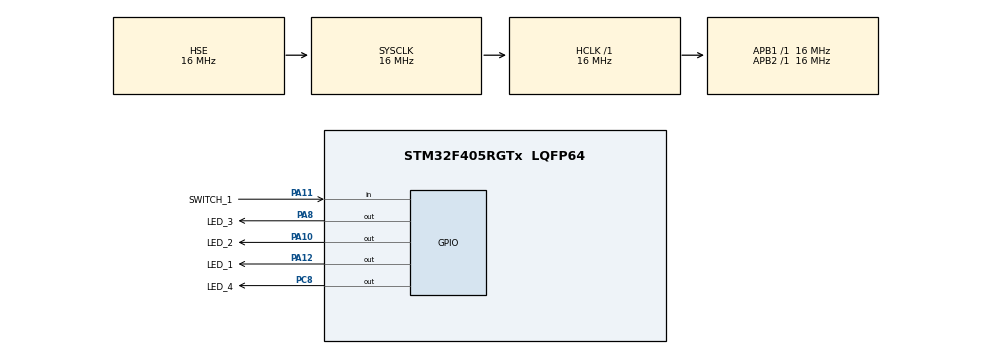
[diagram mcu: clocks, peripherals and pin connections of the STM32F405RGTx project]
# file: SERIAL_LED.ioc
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Mcu.Family=STM32F4
Mcu.Name=STM32F405RGTx
Mcu.Package=LQFP64
NVIC.PriorityGroup=NVIC_PRIORITYGROUP_4
PA10.GPIO_Label=LED_2
PA10.Signal=GPIO_Output
PA11.GPIO_Label=SWITCH_1
PA11.Signal=GPIO_Input
PA12.GPIO_Label=LED_1
PA12.Signal=GPIO_Output
PA13.Mode=Serial_Wire
PA13.Signal=SYS_JTMS-SWDIO
PA14.Mode=Serial_Wire
PA14.Signal=SYS_JTCK-SWCLK
PA8.GPIO_Label=LED_3
PA8.Signal=GPIO_Output
PC8.GPIO_Label=LED_4
PC8.Signal=GPIO_Output
PH0-OSC_IN.Mode=HSE-External-Oscillator
PH0-OSC_IN.Signal=RCC_OSC_IN
PH1-OSC_OUT.Mode=HSE-External-Oscillator
PH1-OSC_OUT.Signal=RCC_OSC_OUT
ProjectManager.HeapSize=0x200
ProjectManager.StackSize=0x400
ProjectManager.TargetToolchain=MDK-ARM V5.32
RCC.AHBFreq_Value=16000000
RCC.APB1Freq_Value=16000000
RCC.APB2Freq_Value=16000000
RCC.CortexFreq_Value=16000000
RCC.HSE_VALUE=16000000
RCC.HSI_VALUE=16000000
RCC.LSE_VALUE=32768
RCC.PLLSourceVirtual=RCC_PLLSOURCE_HSE
RCC.SYSCLKFreq_VALUE=16000000
RCC.SYSCLKSource=RCC_SYSCLKSOURCE_HSE
RCC.VCOOutputFreq_Value=192000000
board=custom

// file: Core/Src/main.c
/* USER CODE BEGIN Header */
/**
  ******************************************************************************
  * @file           : main.c
  * @brief          : Main program body
  ******************************************************************************
  * @attention
  *
  * Copyright (c) 2023 STMicroelectronics.
  * All rights reserved.
  *
  * This software is licensed under terms that can be found in the LICENSE file
  * in the root directory of this software component.
  * If no LICENSE file comes with this software, it is provided AS-IS.
  *
  ******************************************************************************
  */
/* USER CODE END Header */
#include "main.h"

/* USER CODE BEGIN PM */
#define SWITCH_1 HAL_GPIO_ReadPin(GPIOA,GPIO_PIN_11)
#define LED1_OFF HAL_GPIO_WritePin(GPIOA,GPIO_PIN_12,GPIO_PIN_SET)
#define LED1_ON HAL_GPIO_WritePin(GPIOA,GPIO_PIN_12,GPIO_PIN_RESET)
#define LED2_OFF HAL_GPIO_WritePin(GPIOA,GPIO_PIN_10,GPIO_PIN_SET)
#define LED2_ON HAL_GPIO_WritePin(GPIOA,GPIO_PIN_10,GPIO_PIN_RESET)
#define LED3_OFF HAL_GPIO_WritePin(GPIOA,GPIO_PIN_8,GPIO_PIN_SET)
#define LED3_ON HAL_GPIO_WritePin(GPIOA,GPIO_PIN_8,GPIO_PIN_RESET)
#define LED4_OFF HAL_GPIO_WritePin(GPIOC,GPIO_PIN_8,GPIO_PIN_SET)
#define LED4_ON HAL_GPIO_WritePin(GPIOC,GPIO_PIN_8,GPIO_PIN_RESET)
/* USER CODE END PM */

/* USER CODE BEGIN PV */
 uint8_t count;
/* USER CODE END PV */

void SystemClock_Config(void);
static void MX_GPIO_Init(void);

int main(void)
{

  /* MCU Configuration--------------------------------------------------------*/

  /* Reset of all peripherals, Initializes the Flash interface and the Systick. */
  HAL_Init();

  /* Configure the system clock */
  SystemClock_Config();

  /* Initialize all configured peripherals */
  MX_GPIO_Init();
  /* USER CODE BEGIN 2 */
	LED1_OFF;
	LED2_OFF;
	LED3_OFF;
	LED4_OFF;

  /* USER CODE END 2 */

  /* Infinite loop */
  while (1)
  {
    /* USER CODE BEGIN 3 */
		if(SWITCH_1==0)
			count++;
		while(SWITCH_1==0);
		if(count==1)
		LED1_ON;
		else if(count==2)
		LED2_ON;
	  else if(count==3)
		LED3_ON;
		else if(count==4)
		LED4_ON;
		else if(count==5)
		LED1_OFF,LED2_OFF,LED3_OFF,LED4_OFF;
  }
  /* USER CODE END 3 */
}

void SystemClock_Config(void)
{
  RCC_OscInitTypeDef RCC_OscInitStruct = {0};
  RCC_ClkInitTypeDef RCC_ClkInitStruct = {0};

  /** Configure the main internal regulator output voltage
  */
  __HAL_RCC_PWR_CLK_ENABLE();
  __HAL_PWR_VOLTAGESCALING_CONFIG(PWR_REGULATOR_VOLTAGE_SCALE1);

  /** Initializes the RCC Oscillators according to the specified parameters
  * in the RCC_OscInitTypeDef structure.
  */
  RCC_OscInitStruct.OscillatorType = RCC_OSCILLATORTYPE_HSE;
  RCC_OscInitStruct.HSEState = RCC_HSE_ON;
  RCC_OscInitStruct.PLL.PLLState = RCC_PLL_NONE;
  if (HAL_RCC_OscConfig(&RCC_OscInitStruct) != HAL_OK)
  {
    Error_Handler();
  }

  /** Initializes the CPU, AHB and APB buses clocks
  */
  RCC_ClkInitStruct.ClockType = RCC_CLOCKTYPE_HCLK|RCC_CLOCKTYPE_SYSCLK
                              |RCC_CLOCKTYPE_PCLK1|RCC_CLOCKTYPE_PCLK2;
  RCC_ClkInitStruct.SYSCLKSource = RCC_SYSCLKSOURCE_HSE;
  RCC_ClkInitStruct.AHBCLKDivider = RCC_SYSCLK_DIV1;
  RCC_ClkInitStruct.APB1CLKDivider = RCC_HCLK_DIV1;
  RCC_ClkInitStruct.APB2CLKDivider = RCC_HCLK_DIV1;

  if (HAL_RCC_ClockConfig(&RCC_ClkInitStruct, FLASH_LATENCY_0) != HAL_OK)
  {
    Error_Handler();
  }
}

static void MX_GPIO_Init(void)
{
  GPIO_InitTypeDef GPIO_InitStruct = {0};

  /* GPIO Ports Clock Enable */
  __HAL_RCC_GPIOH_CLK_ENABLE();
  __HAL_RCC_GPIOC_CLK_ENABLE();
  __HAL_RCC_GPIOA_CLK_ENABLE();

  /*Configure GPIO pin Output Level */
  HAL_GPIO_WritePin(LED_4_GPIO_Port, LED_4_Pin, GPIO_PIN_RESET);

  /*Configure GPIO pin Output Level */
  HAL_GPIO_WritePin(GPIOA, LED_3_Pin|LED_2_Pin|LED_1_Pin, GPIO_PIN_RESET);

  /*Configure GPIO pin : LED_4_Pin */
  GPIO_InitStruct.Pin = LED_4_Pin;
  GPIO_InitStruct.Mode = GPIO_MODE_OUTPUT_PP;
  GPIO_InitStruct.Pull = GPIO_NOPULL;
  GPIO_InitStruct.Speed = GPIO_SPEED_FREQ_LOW;
  HAL_GPIO_Init(LED_4_GPIO_Port, &GPIO_InitStruct);

  /*Configure GPIO pins : LED_3_Pin LED_2_Pin LED_1_Pin */
  GPIO_InitStruct.Pin = LED_3_Pin|LED_2_Pin|LED_1_Pin;
  GPIO_InitStruct.Mode = GPIO_MODE_OUTPUT_PP;
  GPIO_InitStruct.Pull = GPIO_NOPULL;
  GPIO_InitStruct.Speed = GPIO_SPEED_FREQ_LOW;
  HAL_GPIO_Init(GPIOA, &GPIO_InitStruct);

  /*Configure GPIO pin : SWITCH_1_Pin */
  GPIO_InitStruct.Pin = SWITCH_1_Pin;
  GPIO_InitStruct.Mode = GPIO_MODE_INPUT;
  GPIO_InitStruct.Pull = GPIO_NOPULL;
  HAL_GPIO_Init(SWITCH_1_GPIO_Port, &GPIO_InitStruct);

}

void Error_Handler(void)
{
  __disable_irq();
  while (1)
  {
  }
}
